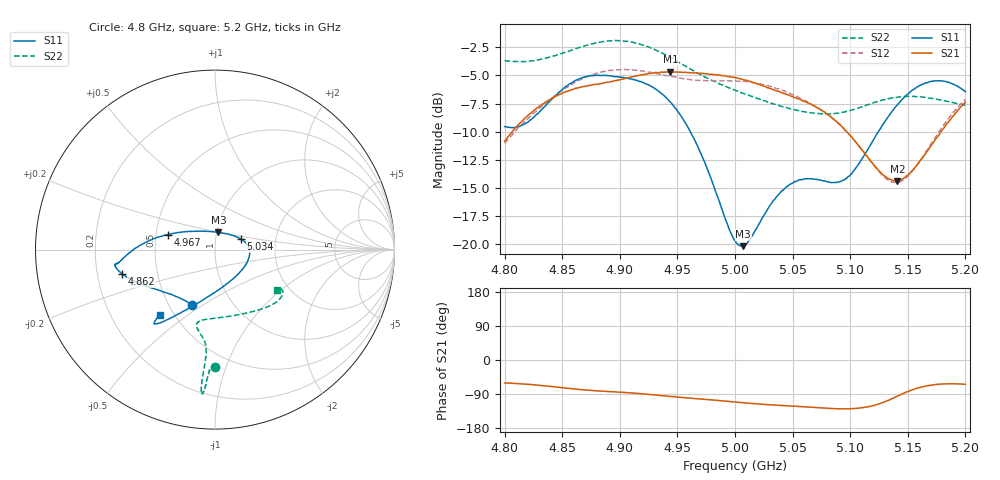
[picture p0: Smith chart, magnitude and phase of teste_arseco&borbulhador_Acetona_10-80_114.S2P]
! Network Analyzer HP8722D
! Hewlett-Packard
! Data name: Linha & Wilkinson
! Saver's name: Rodrigo Anjos
! Comments: Teste da utilização de aquisição
! continua pelo VNA HP8722D
! Time and date: 17/4/2025 15:18
!  Frequency  S11  S21  S12  S22
# HZ  S  MA R 50
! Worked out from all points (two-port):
!   401 points, 4.8 GHz to 5.2 GHz, reference 50 ohm
!   highest |S21| = -4.67 dB at 4.944 GHz (marker M1); lowest = -14.4 dB at 5.141 GHz (marker M2)
!   |S21| within 3 dB of the highest: 4.831 GHz to 5.068 GHz (236.5 MHz wide, 4.78 % of centre); 5.19736 GHz to end of sweep
!   lowest |S11| = -20.2 dB at 5.007 GHz (marker M3), VSWR 1.22, Z = 51 + j9.84 ohm
!   |S11| at or under -10 dB: 4.961 GHz to 5.125 GHz (163.3 MHz wide, 3.24 % of centre)
!   |S22| runs from -8.4 to -1.9 dB; largest |S21 - S12| = 0.88
!   S11 on the Smith chart (normalised r, x): 4.8 GHz: 0.65, -0.45; 4.862 GHz: 0.31, -0.12; 4.967 GHz: 0.58, +0.10; 5.034 GHz: 1.33, +0.16; 5.2 GHz: 0.42, -0.39
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4.8e9  0.333 -113.0  0.286 -60.7  0.2803 -174.8  0.6559 -89.9
4.819e9  0.3461 -132.9  0.3684 -63.9  0.3565 -173.2  0.65 -91.5
4.862e9  0.5353 -165.4  0.4948 -76.9  0.528 -176.6  0.7417 -93.7
4.867e9  0.5489 -167.4  0.5006 -78.3  0.5429 -177.5  0.7555 -93.8
4.9e9  0.553 -171.9  0.5378 -85.0  0.5953 175.8  0.8031 -95.2
4.934e9  0.4775 -177.8  0.5784 -93.4  0.5718 172.0  0.7168 -95.6
4.944e9  0.4279 177.6  0.5844 -96.1  0.5563 172.0  0.6768 -95.4
4.967e9  0.2762 162.3  0.5757 -102.0  0.535 174.1  0.5781 -94.8
5e9  0.1033 103.1  0.5505 -110.9  0.5323 176.3  0.4837 -99.0
5.007e9  0.09751 78.8  0.5393 -112.6  0.5306 176.3  0.4677 -100.7
5.013e9  0.1044 59.9  0.5297 -114.3  0.5247 176.0  0.4566 -101.8
5.034e9  0.1569 21.8  0.4843 -118.9  0.4968 175.0  0.4193 -103.5
5.05e9  0.1866 5.5  0.4521 -121.6  0.4619 174.2  0.3981 -99.7
5.067e9  0.1947 -12.8  0.416 -124.7  0.4167 173.8  0.3827 -90.9
5.087e9  0.1877 -44.8  0.3541 -128.4  0.3519 173.8  0.381 -75.8
5.098e9  0.1986 -67.5  0.3118 -128.6  0.3114 174.6  0.3895 -66.6
5.134e9  0.3741 -115.9  0.1942 -105.3  0.1905 -158.1  0.4443 -42.9
5.141e9  0.4162 -119.9  0.1906 -95.2  0.1874 -147.1  0.4503 -39.8
5.153e9  0.48 -124.9  0.2094 -79.6  0.2073 -128.8  0.4534 -35.6
5.17e9  0.5288 -128.5  0.2726 -66.5  0.2781 -112.6  0.4452 -31.8
5.184e9  0.5268 -129.8  0.3436 -63.0  0.3549 -107.1  0.4316 -30.9
5.2e9  0.4761 -130.2  0.4278 -64.1  0.4398 -106.2  0.4146 -33.1
